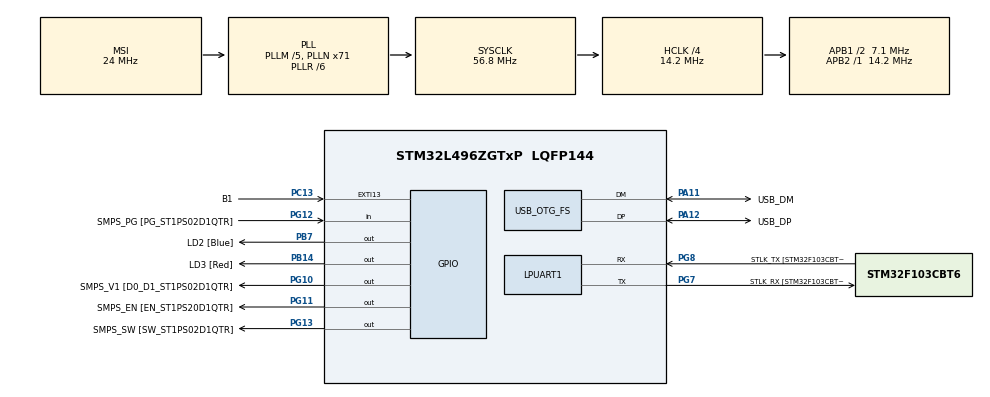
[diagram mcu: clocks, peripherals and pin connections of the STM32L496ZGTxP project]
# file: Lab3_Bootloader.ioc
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Mcu.Family=STM32L4
Mcu.Name=STM32L496ZGTxP
Mcu.Package=LQFP144
NVIC.OTG_FS_IRQn=true\:0\:0\:false\:false\:true\:true\:true\:true
NVIC.PriorityGroup=NVIC_PRIORITYGROUP_4
PA11.GPIO_Label=USB_DM
PA11.Mode=Device_Only
PA11.Signal=USB_OTG_FS_DM
PA12.GPIO_Label=USB_DP
PA12.Mode=Device_Only
PA12.Signal=USB_OTG_FS_DP
PA13\ (JTMS/SWDIO).GPIO_Label=TMS
PA13\ (JTMS/SWDIO).Mode=Trace_Asynchronous_SW
PA13\ (JTMS/SWDIO).Signal=SYS_JTMS-SWDIO
PA14\ (JTCK/SWCLK).GPIO_Label=TCK
PA14\ (JTCK/SWCLK).Mode=Trace_Asynchronous_SW
PA14\ (JTCK/SWCLK).Signal=SYS_JTCK-SWCLK
PA9.GPIO_Label=USB_VBUS
PA9.Signal=USB_OTG_FS_VBUS
PB14.GPIO_Label=LD3 [Red]
PB14.Signal=GPIO_Output
PB3\ (JTDO/TRACESWO).GPIO_Label=SWO
PB3\ (JTDO/TRACESWO).Mode=Trace_Asynchronous_SW
PB3\ (JTDO/TRACESWO).Signal=SYS_JTDO-SWO
PB7.GPIO_Label=LD2 [Blue]
PB7.Signal=GPIO_Output
PC13.GPIO_Label=B1
PC13.Signal=GPXTI13
PC14-OSC32_IN\ (PC14).Mode=LSE-External-Oscillator
PC14-OSC32_IN\ (PC14).Signal=RCC_OSC32_IN
PC15-OSC32_OUT\ (PC15).Mode=LSE-External-Oscillator
PC15-OSC32_OUT\ (PC15).Signal=RCC_OSC32_OUT
PG10.GPIO_Label=SMPS_V1 [D0_D1_ST1PS02D1QTR]
PG10.Signal=GPIO_Output
PG11.GPIO_Label=SMPS_EN [EN_ST1PS20D1QTR]
PG11.Signal=GPIO_Output
PG12.GPIO_Label=SMPS_PG [PG_ST1PS02D1QTR]
PG12.Signal=GPIO_Input
PG13.GPIO_Label=SMPS_SW [SW_ST1PS02D1QTR]
PG13.Signal=GPIO_Output
PG7.GPIO_Label=STLK_RX [STM32F103CBT6_PA3]
PG7.Mode=Asynchronous
PG7.Signal=LPUART1_TX
PG8.GPIO_Label=STLK_TX [STM32F103CBT6_PA2]
PG8.Mode=Asynchronous
PG8.Signal=LPUART1_RX
PH0-OSC_IN\ (PH0).GPIO_Label=MCO
PH0-OSC_IN\ (PH0).Signal=RCC_OSC_IN
PH1-OSC_OUT\ (PH1).Signal=RCC_OSC_OUT
ProjectManager.HeapSize=0x200
ProjectManager.StackSize=0x400
ProjectManager.TargetToolchain=CMake
RCC.48MHZClocksFreq_Value=24000000
RCC.ADCFreq_Value=48000000
RCC.AHBCLKDivider=RCC_SYSCLK_DIV4
RCC.AHBFreq_Value=14200000
RCC.APB1CLKDivider=RCC_HCLK_DIV2
RCC.APB1Freq_Value=7100000
RCC.APB1TimFreq_Value=14200000
RCC.APB2Freq_Value=14200000
RCC.APB2TimFreq_Value=14200000
RCC.CortexFreq_Value=14200000
RCC.HCLKFreq_Value=14200000
RCC.HSE_VALUE=8000000
RCC.HSI48_VALUE=48000000
RCC.HSI_VALUE=16000000
RCC.MSIClockRange=RCC_MSIRANGE_9
RCC.MSI_VALUE=24000000
RCC.PLLM=5
RCC.PLLMUL=RCC_PLL_MUL9
RCC.PLLN=71
RCC.PLLR=RCC_PLLR_DIV6
RCC.PLLSAI1N=20
RCC.PRESCALERUSB=RCC_USBCLKSOURCE_PLL_DIV1_5
RCC.SYSCLKFreq_VALUE=56800000
RCC.SYSCLKSource=RCC_SYSCLKSOURCE_PLLCLK
RCC.SYSCLKSourceVirtual=RCC_SYSCLKSOURCE_PLLCLK
RCC.USBFreq_Value=48000000
RCC.VCOOutputFreq_Value=340800000
USB_DEVICE.CLASS_NAME_FS=CDC
USB_DEVICE.VirtualMode=Cdc
USB_DEVICE.VirtualModeFS=Cdc_FS
USB_OTG_FS.VirtualMode=Device_Only
VP_USB_DEVICE_VS_USB_DEVICE_CDC_FS.Mode=CDC_FS
board=NUCLEO-L496ZG-P

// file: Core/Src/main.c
/* USER CODE BEGIN Header */
/**
  ******************************************************************************
  * @file           : main.c
  * @brief          : Main program body
  ******************************************************************************
  * @attention
  *
  * Copyright (c) 2026 STMicroelectronics.
  * All rights reserved.
  *
  * This software is licensed under terms that can be found in the LICENSE file
  * in the root directory of this software component.
  * If no LICENSE file comes with this software, it is provided AS-IS.
  *
  ******************************************************************************
  */
/* USER CODE END Header */
#include "main.h"
#include "usb_device.h"

/* USER CODE BEGIN Includes */
#include "boot_image.h"
#include "boot_link.h"
#include "boot_proto.h"
/* USER CODE END Includes */

/* USER CODE BEGIN PTD */
typedef enum {
  ST_WAIT = 0,        /* entry window open, nothing arriving yet */
  ST_WAIT_TIMEOUT,    /* window closed with no transfer */
  ST_RECEIVING,       /* erased, taking payload */
  ST_VERIFIED,        /* image written and checked, waiting for the button */
  ST_FAILED           /* transfer or verification failed */
} boot_state;
/* USER CODE END PTD */

/* USER CODE BEGIN PD */
#define ENTRY_WINDOW_MS   10000u   /* how long to sit waiting before booting the app */
#define INTER_BYTE_MS      3000u   /* gap that means the host gave up */

#define STATUS_READY       'R'
#define STATUS_OK          'K'
#define STATUS_FAIL        'E'
/* USER CODE END PD */

UART_HandleTypeDef hlpuart1;

/* USER CODE BEGIN PV */
static boot_proto  g_proto;
static boot_dw     g_dw;
static boot_state  g_state;
static uint32_t    g_addr;        /* next flash address to program */
static uint32_t    g_window_start;
static uint32_t    g_last_byte;
/* USER CODE END PV */

void SystemClock_Config(void);
static void MX_GPIO_Init(void);
static void MX_LPUART1_UART_Init(void);

/* USER CODE BEGIN 0 */
static void transfer_fail(void)
{
  boot_flash_lock();
  boot_led_write(0);
  g_state = ST_FAILED;
}

static void start_receive(void)
{
  /* Requirement 2: the region has to be blank before anything is programmed. */
  boot_led_write(1);

  if (!boot_flash_unlock() || !boot_erase_app()) {
    transfer_fail();
    return;
  }

  g_addr = BOOT_APP_BASE;
  boot_dw_init(&g_dw);
  g_state = ST_RECEIVING;
  g_last_byte = HAL_GetTick();

  /* After the erase, so the host can tell the pause apart from a hang. */
  (void)boot_link_send(STATUS_READY);
}

static void store_byte(uint8_t b)
{
  g_last_byte = HAL_GetTick();

  if (boot_dw_push(&g_dw, b)) {
    if (!boot_program_dw(g_addr, g_dw.buf)) {
      transfer_fail();
      return;
    }
    g_addr += 8u;
  }
}

static void finish_receive(void)
{
  /* Tail of an image whose size is not a multiple of 8 still has to reach
     flash, padded with 0xFF so the last double word is legal. */
  if (boot_dw_pad(&g_dw)) {
    if (!boot_program_dw(g_addr, g_dw.buf)) {
      transfer_fail();
      return;
    }
    g_addr += 8u;
  }

  boot_flash_lock();
  boot_led_write(0);

  if (boot_verify_crc(BOOT_APP_BASE, g_proto.length, g_proto.crc_expected)) {
    g_state = ST_VERIFIED;
    (void)boot_link_send(STATUS_OK);
  } else {
    g_state = ST_FAILED;
    (void)boot_link_send(STATUS_FAIL);
  }
}
/* USER CODE END 0 */

int main(void)
{

  /* MCU Configuration--------------------------------------------------------*/

  /* Reset of all peripherals, Initializes the Flash interface and the Systick. */
  HAL_Init();

  /* Configure the system clock */
  SystemClock_Config();

  /* Initialize all configured peripherals */
  MX_GPIO_Init();
  MX_LPUART1_UART_Init();
  MX_USB_DEVICE_Init();
  /* USER CODE BEGIN 2 */
  boot_link_init();
  boot_proto_init(&g_proto);
  boot_dw_init(&g_dw);
  boot_led_write(0);

  g_state = ST_WAIT;
  g_window_start = HAL_GetTick();
  /* USER CODE END 2 */

  /* Infinite loop */
  while (1)
  {

    /* USER CODE BEGIN 3 */
    uint8_t  b;
    uint32_t now;

    /* Requirement 1: bytes arrive in CDC_Receive_FS(), get pushed into the
       ring there, and are drained here. Flash is never programmed from the
       callback - it would block the USB interrupt for milliseconds. */
    boot_link_service();

    while (boot_link_pop(&b)) {
      boot_evt ev = boot_proto_feed(&g_proto, b);

      if (ev == BOOT_EVT_HEADER_OK) {
        start_receive();
      } else if (ev == BOOT_EVT_PAYLOAD || ev == BOOT_EVT_COMPLETE) {
        if (g_state == ST_RECEIVING) {
          store_byte(b);
          if (ev == BOOT_EVT_COMPLETE && g_state == ST_RECEIVING) {
            finish_receive();
          }
        }
      }
      /* BOOT_EVT_HEADER_BAD: the parser re-armed itself, keep waiting. */

      if (g_state == ST_FAILED) {
        break;
      }
    }

    now = HAL_GetTick();

    if (g_state == ST_RECEIVING && (now - g_last_byte) > INTER_BYTE_MS) {
      transfer_fail();
    }

    if (g_state == ST_WAIT && (now - g_window_start) > ENTRY_WINDOW_MS) {
      g_state = ST_WAIT_TIMEOUT;
      if (boot_app_installed()) {
        boot_jump_to_app();
      }
    }

    /* Requirement 2: hand off to the image we just wrote. */
    if (g_state == ST_VERIFIED && boot_button_pressed()) {
      boot_jump_to_app();
    }

    /* Requirement 4: B1 launches whatever is already installed, without a
       transfer first. Only while the parser is idle - a half-sent header means
       an update is in progress, not that the user wants out of it. */
    if ((g_state == ST_WAIT || g_state == ST_WAIT_TIMEOUT) &&
        g_proto.state == (uint8_t)BOOT_ST_MAGIC && boot_button_pressed()) {
      if (boot_app_installed()) {
        boot_jump_to_app();
      } else {
        g_state = ST_FAILED;   /* nothing valid in flash to launch */
      }
    }

    boot_status_led(now, g_state == ST_FAILED);
  }
  /* USER CODE END 3 */
}

void SystemClock_Config(void)
{
  RCC_OscInitTypeDef RCC_OscInitStruct = {0};
  RCC_ClkInitTypeDef RCC_ClkInitStruct = {0};

  /** Configure the main internal regulator output voltage
  */
  if (HAL_PWREx_ControlVoltageScaling(PWR_REGULATOR_VOLTAGE_SCALE1) != HAL_OK)
  {
    Error_Handler();
  }

  /** Configure LSE Drive Capability
  */
  HAL_PWR_EnableBkUpAccess();
  __HAL_RCC_LSEDRIVE_CONFIG(RCC_LSEDRIVE_LOW);

  /** Initializes the RCC Oscillators according to the specified parameters
  * in the RCC_OscInitTypeDef structure.
  */
  RCC_OscInitStruct.OscillatorType = RCC_OSCILLATORTYPE_LSE|RCC_OSCILLATORTYPE_MSI;
  RCC_OscInitStruct.LSEState = RCC_LSE_ON;
  RCC_OscInitStruct.MSIState = RCC_MSI_ON;
  RCC_OscInitStruct.MSICalibrationValue = 0;
  RCC_OscInitStruct.MSIClockRange = RCC_MSIRANGE_9;
  RCC_OscInitStruct.PLL.PLLState = RCC_PLL_ON;
  RCC_OscInitStruct.PLL.PLLSource = RCC_PLLSOURCE_MSI;
  RCC_OscInitStruct.PLL.PLLM = 5;
  RCC_OscInitStruct.PLL.PLLN = 71;
  RCC_OscInitStruct.PLL.PLLP = RCC_PLLP_DIV2;
  RCC_OscInitStruct.PLL.PLLQ = RCC_PLLQ_DIV2;
  RCC_OscInitStruct.PLL.PLLR = RCC_PLLR_DIV6;
  if (HAL_RCC_OscConfig(&RCC_OscInitStruct) != HAL_OK)
  {
    Error_Handler();
  }

  /** Initializes the CPU, AHB and APB buses clocks
  */
  RCC_ClkInitStruct.ClockType = RCC_CLOCKTYPE_HCLK|RCC_CLOCKTYPE_SYSCLK
                              |RCC_CLOCKTYPE_PCLK1|RCC_CLOCKTYPE_PCLK2;
  RCC_ClkInitStruct.SYSCLKSource = RCC_SYSCLKSOURCE_PLLCLK;
  RCC_ClkInitStruct.AHBCLKDivider = RCC_SYSCLK_DIV4;
  RCC_ClkInitStruct.APB1CLKDivider = RCC_HCLK_DIV2;
  RCC_ClkInitStruct.APB2CLKDivider = RCC_HCLK_DIV1;

  if (HAL_RCC_ClockConfig(&RCC_ClkInitStruct, FLASH_LATENCY_0) != HAL_OK)
  {
    Error_Handler();
  }

  /** Enable MSI Auto calibration
  */
  HAL_RCCEx_EnableMSIPLLMode();
}

static void MX_LPUART1_UART_Init(void)
{

  hlpuart1.Instance = LPUART1;
  hlpuart1.Init.BaudRate = 209700;
  hlpuart1.Init.WordLength = UART_WORDLENGTH_7B;
  hlpuart1.Init.StopBits = UART_STOPBITS_1;
  hlpuart1.Init.Parity = UART_PARITY_NONE;
  hlpuart1.Init.Mode = UART_MODE_TX_RX;
  hlpuart1.Init.HwFlowCtl = UART_HWCONTROL_NONE;
  hlpuart1.Init.OneBitSampling = UART_ONE_BIT_SAMPLE_DISABLE;
  hlpuart1.AdvancedInit.AdvFeatureInit = UART_ADVFEATURE_NO_INIT;
  if (HAL_UART_Init(&hlpuart1) != HAL_OK)
  {
    Error_Handler();
  }

}

static void MX_GPIO_Init(void)
{
  GPIO_InitTypeDef GPIO_InitStruct = {0};

  /* GPIO Ports Clock Enable */
  __HAL_RCC_GPIOC_CLK_ENABLE();
  __HAL_RCC_GPIOH_CLK_ENABLE();
  __HAL_RCC_GPIOB_CLK_ENABLE();
  __HAL_RCC_GPIOG_CLK_ENABLE();
  HAL_PWREx_EnableVddIO2();
  __HAL_RCC_GPIOA_CLK_ENABLE();

  /*Configure GPIO pin Output Level */
  HAL_GPIO_WritePin(GPIOB, LD3_Pin|LD2_Pin, GPIO_PIN_RESET);

  /*Configure GPIO pin Output Level */
  HAL_GPIO_WritePin(GPIOG, SMPS_V1_Pin|SMPS_EN_Pin|SMPS_SW_Pin, GPIO_PIN_RESET);

  /*Configure GPIO pin : B1_Pin */
  GPIO_InitStruct.Pin = B1_Pin;
  GPIO_InitStruct.Mode = GPIO_MODE_IT_RISING;
  GPIO_InitStruct.Pull = GPIO_NOPULL;
  HAL_GPIO_Init(B1_GPIO_Port, &GPIO_InitStruct);

  /*Configure GPIO pins : LD3_Pin LD2_Pin */
  GPIO_InitStruct.Pin = LD3_Pin|LD2_Pin;
  GPIO_InitStruct.Mode = GPIO_MODE_OUTPUT_PP;
  GPIO_InitStruct.Pull = GPIO_NOPULL;
  GPIO_InitStruct.Speed = GPIO_SPEED_FREQ_LOW;
  HAL_GPIO_Init(GPIOB, &GPIO_InitStruct);

  /*Configure GPIO pins : SMPS_V1_Pin SMPS_EN_Pin SMPS_SW_Pin */
  GPIO_InitStruct.Pin = SMPS_V1_Pin|SMPS_EN_Pin|SMPS_SW_Pin;
  GPIO_InitStruct.Mode = GPIO_MODE_OUTPUT_PP;
  GPIO_InitStruct.Pull = GPIO_NOPULL;
  GPIO_InitStruct.Speed = GPIO_SPEED_FREQ_LOW;
  HAL_GPIO_Init(GPIOG, &GPIO_InitStruct);

  /*Configure GPIO pin : SMPS_PG_Pin */
  GPIO_InitStruct.Pin = SMPS_PG_Pin;
  GPIO_InitStruct.Mode = GPIO_MODE_INPUT;
  GPIO_InitStruct.Pull = GPIO_NOPULL;
  HAL_GPIO_Init(SMPS_PG_GPIO_Port, &GPIO_InitStruct);

}

void Error_Handler(void)
{
  __disable_irq();
  while (1)
  {
  }
}
